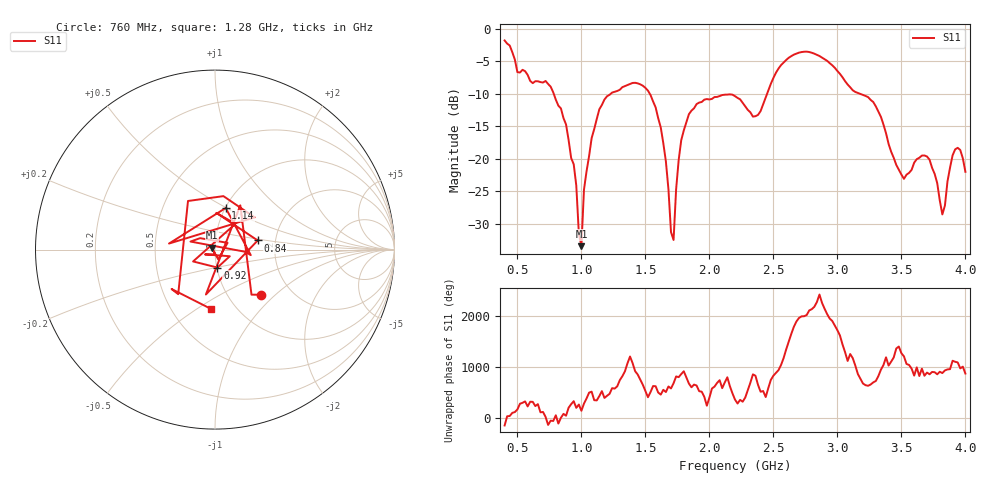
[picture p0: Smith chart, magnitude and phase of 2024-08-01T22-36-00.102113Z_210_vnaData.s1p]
!Created with skrf (http://scikit-rf.org).
# Hz S RI R 50.0
!freq ReS11 ImS11
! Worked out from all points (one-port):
!   181 points, 400 MHz to 4 GHz, reference 50 ohm
!   lowest |S11| = -33.5 dB at 1 GHz (marker M1), VSWR 1.04, Z = 48.2 + j1.08 ohm
!   |S11| at or under -10 dB: 783.4 MHz to 1.231 GHz (447.2 MHz wide, 44.4 % of centre); 1.534 GHz to 2.451 GHz (917.1 MHz wide, 46 % of centre); 3.173 GHz to end of sweep
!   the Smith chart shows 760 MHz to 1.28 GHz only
!   S11 on the Smith chart (normalised r, x): 760 MHz: 1.41, -0.81; 840 MHz: 1.61, +0.17; 920 MHz: 1.01, -0.20; 1.14 GHz: 1.01, +0.49; 1.28 GHz: 0.77, -0.57
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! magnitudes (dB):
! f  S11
! 400 MHz  -1.8
! 500 MHz  -6.7
! 760 MHz  -8.9
! 840 MHz  -12.3
! 860 MHz  -13.8
! 920 MHz  -19.9
! 1 GHz  -33.5
! 1.02 GHz  -24.8
! 1.14 GHz  -12.4
! 1.28 GHz  -9.6
! 1.3 GHz  -9.4
! 1.58 GHz  -12.1
! 1.66 GHz  -20.4
! 1.7 GHz  -31.3
! 1.72 GHz  -32.5
! 1.76 GHz  -20.2
! 1.9 GHz  -11.6
! 2.2 GHz  -10.4
! 2.38 GHz  -13.3
! 2.66 GHz  -4.0
! 3.1 GHz  -9.0
! 3.28 GHz  -11.3
! 3.46 GHz  -21.0
! 3.56 GHz  -22.2
! 3.72 GHz  -20.2
! 3.82 GHz  -28.6
! 3.92 GHz  -18.6
! 4 GHz  -22.0
